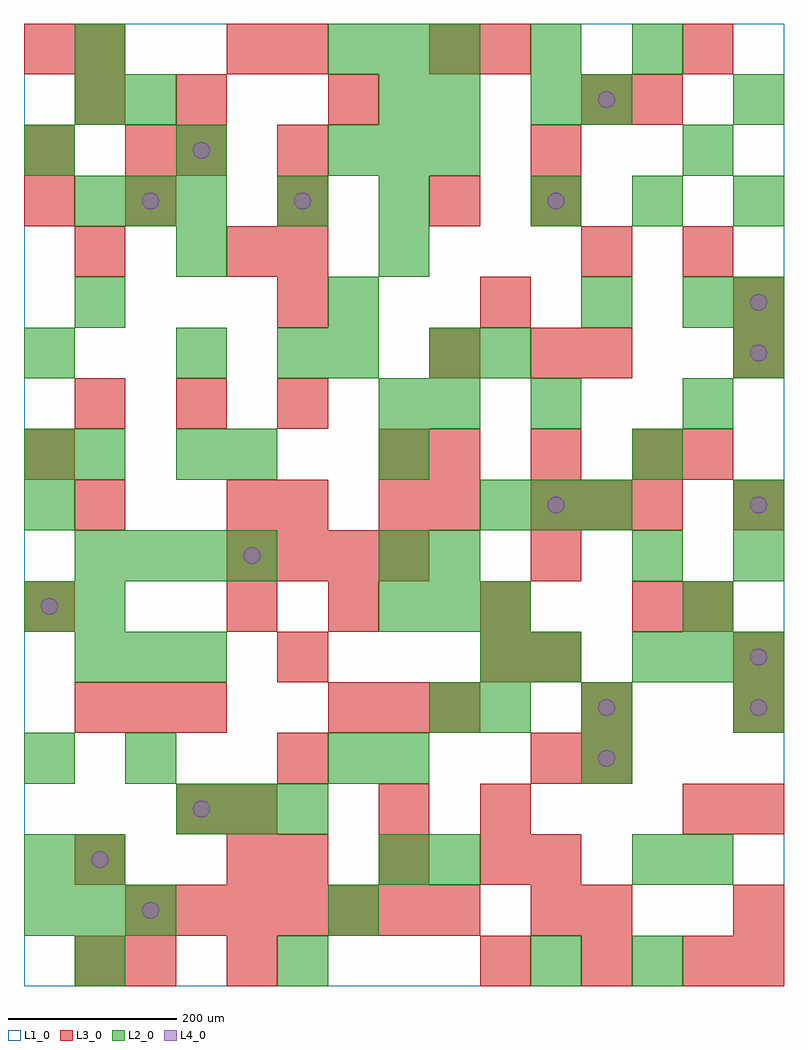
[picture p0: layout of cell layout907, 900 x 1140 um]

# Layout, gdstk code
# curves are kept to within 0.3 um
import gdstk
lib = gdstk.Library(unit=1e-6, precision=1e-09)
def R(c, l, rs):  # rectangles x0, y0, x1, y1
    for r in rs: c.add(gdstk.rectangle(r[:2], r[2:], *l))
def A(c, l, x, y, w, h, nx, ny, dx, dy):  # array of equal rectangles
    R(c, l, [(x+i*dx, y+j*dy, x+i*dx+w, y+j*dy+h) for i in range(nx) for j in range(ny)])
def P(c, l, *ps):  # polygons
    for p in ps: c.add(gdstk.Polygon(p, *l))
L1_0 = (1, 0)
L2_0 = (2, 0)
L3_0 = (3, 0)
L4_0 = (4, 0)

layout907 = lib.new_cell('layout907')
R(layout907, L1_0, [(0,0,900,1140)])
A(layout907, L2_0, 0, 60, 60, 60, 3, 1, 60, 0)
A(layout907, L2_0, 480, 120, 60, 60, 1, 4, 0, 180)
A(layout907, L2_0, 180, 180, 60, 60, 3, 1, 60, 0)
A(layout907, L2_0, 60, 360, 60, 60, 3, 2, 60, 540)
A(layout907, L2_0, 720, 360, 60, 60, 3, 1, 60, 0)
A(layout907, L2_0, 420, 420, 60, 60, 3, 1, 60, 0)
A(layout907, L2_0, 60, 480, 60, 60, 4, 1, 60, 0)
A(layout907, L2_0, 540, 540, 60, 60, 3, 1, 60, 0)
A(layout907, L2_0, 180, 600, 60, 60, 1, 3, 0, 120)
A(layout907, L2_0, 60, 780, 60, 60, 3, 1, 300, 0)
A(layout907, L2_0, 420, 840, 60, 60, 1, 4, 0, 60)
A(layout907, L2_0, 600, 900, 60, 60, 3, 1, 120, 0)
A(layout907, L2_0, 0, 960, 60, 60, 3, 1, 180, 0)
A(layout907, L2_0, 360, 1080, 60, 60, 3, 1, 60, 0)
R(layout907, L2_0, [(60,0,120,60), (300,0,360,60), (600,0,660,60), (720,0,780,60), (360,60,420,120), (0,120,60,180), (60,120,120,180), (420,120,480,180), (720,120,780,180), (780,120,840,180), (0,240,60,300), (120,240,180,300), (360,240,420,300), (420,240,480,300), (660,240,720,300), (540,300,600,360), (660,300,720,360), (840,300,900,360), (540,360,600,420), (600,360,660,420), (0,420,60,480), (60,420,120,480), (780,420,840,480), (420,480,480,540), (720,480,780,540), (840,480,900,540), (0,540,60,600), (840,540,900,600), (0,600,60,660), (60,600,120,660), (240,600,300,660), (420,600,480,660), (720,600,780,660), (420,660,480,720), (600,660,660,720), (780,660,840,720), (0,720,60,780), (300,720,360,780), (360,720,420,780), (480,720,540,780), (540,720,600,780), (840,720,900,780), (780,780,840,840), (840,780,900,840), (300,900,360,960), (480,960,540,1020), (780,960,840,1020), (60,1020,120,1080), (120,1020,180,1080), (480,1020,540,1080), (600,1020,660,1080), (660,1020,720,1080), (840,1020,900,1080), (60,1080,120,1140), (600,1080,660,1140), (720,1080,780,1140)])
A(layout907, L3_0, 540, 0, 60, 60, 3, 1, 120, 0)
A(layout907, L3_0, 120, 60, 60, 60, 7, 1, 60, 0)
A(layout907, L3_0, 840, 60, 60, 60, 1, 3, 0, 120)
A(layout907, L3_0, 300, 120, 60, 60, 3, 1, 120, 0)
A(layout907, L3_0, 600, 120, 60, 60, 1, 4, 0, 120)
A(layout907, L3_0, 60, 300, 60, 60, 3, 1, 60, 0)
A(layout907, L3_0, 360, 300, 60, 60, 3, 1, 60, 0)
A(layout907, L3_0, 840, 360, 60, 60, 1, 3, 0, 180)
A(layout907, L3_0, 360, 420, 60, 60, 3, 1, 180, 0)
A(layout907, L3_0, 240, 480, 60, 60, 4, 1, 60, 0)
A(layout907, L3_0, 600, 540, 60, 60, 3, 1, 60, 0)
A(layout907, L3_0, 480, 600, 60, 60, 3, 1, 120, 0)
A(layout907, L3_0, 780, 600, 60, 60, 1, 3, 0, 240)
A(layout907, L3_0, 60, 660, 60, 60, 3, 1, 120, 0)
A(layout907, L3_0, 300, 840, 60, 60, 1, 3, 0, 120)
A(layout907, L3_0, 120, 900, 60, 60, 3, 1, 180, 0)
R(layout907, L3_0, [(60,0,120,60), (120,0,180,60), (240,0,300,60), (840,0,900,60), (600,60,660,120), (660,60,720,120), (60,120,120,180), (240,120,300,180), (180,180,240,240), (240,180,300,240), (420,180,480,240), (540,180,600,240), (780,180,840,240), (300,240,360,300), (660,240,720,300), (660,300,720,360), (300,360,360,420), (540,360,600,420), (0,420,60,480), (240,420,300,480), (780,420,840,480), (60,540,120,600), (240,540,300,600), (300,540,360,600), (420,540,480,600), (480,540,540,600), (0,600,60,660), (420,600,480,660), (480,720,540,780), (600,720,660,780), (660,720,720,780), (300,780,360,840), (540,780,600,840), (840,780,900,840), (60,840,120,900), (240,840,300,900), (660,840,720,900), (0,900,60,960), (600,900,660,960), (0,960,60,1020), (120,960,180,1020), (180,960,240,1020), (600,960,660,1020), (60,1020,120,1080), (180,1020,240,1080), (360,1020,420,1080), (660,1020,720,1080), (720,1020,780,1080), (0,1080,60,1140), (60,1080,120,1140), (240,1080,300,1140), (480,1080,540,1140), (540,1080,600,1140)])
P(layout907, L4_0, [(40,450),(39.239,453.827),(37.071,457.071),(33.827,459.239),(30,460),(26.173,459.239),(22.929,457.071),(20.761,453.827),(20,450),(20.761,446.173),(22.929,442.929),(26.173,440.761),(30,440),(33.827,440.761),(37.071,442.929),(39.239,446.173)],
  [(100,150),(99.239,153.827),(97.071,157.071),(93.827,159.239),(90,160),(86.173,159.239),(82.929,157.071),(80.761,153.827),(80,150),(80.761,146.173),(82.929,142.929),(86.173,140.761),(90,140),(93.827,140.761),(97.071,142.929),(99.239,146.173)],
  [(160,90),(159.239,93.827),(157.071,97.071),(153.827,99.239),(150,100),(146.173,99.239),(142.929,97.071),(140.761,93.827),(140,90),(140.761,86.173),(142.929,82.929),(146.173,80.761),(150,80),(153.827,80.761),(157.071,82.929),(159.239,86.173)],
  [(160,930),(159.239,933.827),(157.071,937.071),(153.827,939.239),(150,940),(146.173,939.239),(142.929,937.071),(140.761,933.827),(140,930),(140.761,926.173),(142.929,922.929),(146.173,920.761),(150,920),(153.827,920.761),(157.071,922.929),(159.239,926.173)],
  [(220,210),(219.239,213.827),(217.071,217.071),(213.827,219.239),(210,220),(206.173,219.239),(202.929,217.071),(200.761,213.827),(200,210),(200.761,206.173),(202.929,202.929),(206.173,200.761),(210,200),(213.827,200.761),(217.071,202.929),(219.239,206.173)],
  [(220,990),(219.239,993.827),(217.071,997.071),(213.827,999.239),(210,1000),(206.173,999.239),(202.929,997.071),(200.761,993.827),(200,990),(200.761,986.173),(202.929,982.929),(206.173,980.761),(210,980),(213.827,980.761),(217.071,982.929),(219.239,986.173)],
  [(280,510),(279.239,513.827),(277.071,517.071),(273.827,519.239),(270,520),(266.173,519.239),(262.929,517.071),(260.761,513.827),(260,510),(260.761,506.173),(262.929,502.929),(266.173,500.761),(270,500),(273.827,500.761),(277.071,502.929),(279.239,506.173)],
  [(340,930),(339.239,933.827),(337.071,937.071),(333.827,939.239),(330,940),(326.173,939.239),(322.929,937.071),(320.761,933.827),(320,930),(320.761,926.173),(322.929,922.929),(326.173,920.761),(330,920),(333.827,920.761),(337.071,922.929),(339.239,926.173)],
  [(640,570),(639.239,573.827),(637.071,577.071),(633.827,579.239),(630,580),(626.173,579.239),(622.929,577.071),(620.761,573.827),(620,570),(620.761,566.173),(622.929,562.929),(626.173,560.761),(630,560),(633.827,560.761),(637.071,562.929),(639.239,566.173)],
  [(640,930),(639.239,933.827),(637.071,937.071),(633.827,939.239),(630,940),(626.173,939.239),(622.929,937.071),(620.761,933.827),(620,930),(620.761,926.173),(622.929,922.929),(626.173,920.761),(630,920),(633.827,920.761),(637.071,922.929),(639.239,926.173)],
  [(700,270),(699.239,273.827),(697.071,277.071),(693.827,279.239),(690,280),(686.173,279.239),(682.929,277.071),(680.761,273.827),(680,270),(680.761,266.173),(682.929,262.929),(686.173,260.761),(690,260),(693.827,260.761),(697.071,262.929),(699.239,266.173)],
  [(700,330),(699.239,333.827),(697.071,337.071),(693.827,339.239),(690,340),(686.173,339.239),(682.929,337.071),(680.761,333.827),(680,330),(680.761,326.173),(682.929,322.929),(686.173,320.761),(690,320),(693.827,320.761),(697.071,322.929),(699.239,326.173)],
  [(700,1050),(699.239,1053.827),(697.071,1057.071),(693.827,1059.239),(690,1060),(686.173,1059.239),(682.929,1057.071),(680.761,1053.827),(680,1050),(680.761,1046.173),(682.929,1042.929),(686.173,1040.761),(690,1040),(693.827,1040.761),(697.071,1042.929),(699.239,1046.173)],
  [(880,330),(879.239,333.827),(877.071,337.071),(873.827,339.239),(870,340),(866.173,339.239),(862.929,337.071),(860.761,333.827),(860,330),(860.761,326.173),(862.929,322.929),(866.173,320.761),(870,320),(873.827,320.761),(877.071,322.929),(879.239,326.173)],
  [(880,390),(879.239,393.827),(877.071,397.071),(873.827,399.239),(870,400),(866.173,399.239),(862.929,397.071),(860.761,393.827),(860,390),(860.761,386.173),(862.929,382.929),(866.173,380.761),(870,380),(873.827,380.761),(877.071,382.929),(879.239,386.173)],
  [(880,570),(879.239,573.827),(877.071,577.071),(873.827,579.239),(870,580),(866.173,579.239),(862.929,577.071),(860.761,573.827),(860,570),(860.761,566.173),(862.929,562.929),(866.173,560.761),(870,560),(873.827,560.761),(877.071,562.929),(879.239,566.173)],
  [(880,750),(879.239,753.827),(877.071,757.071),(873.827,759.239),(870,760),(866.173,759.239),(862.929,757.071),(860.761,753.827),(860,750),(860.761,746.173),(862.929,742.929),(866.173,740.761),(870,740),(873.827,740.761),(877.071,742.929),(879.239,746.173)],
  [(880,810),(879.239,813.827),(877.071,817.071),(873.827,819.239),(870,820),(866.173,819.239),(862.929,817.071),(860.761,813.827),(860,810),(860.761,806.173),(862.929,802.929),(866.173,800.761),(870,800),(873.827,800.761),(877.071,802.929),(879.239,806.173)])

lib.write_gds('layout907.gds')
